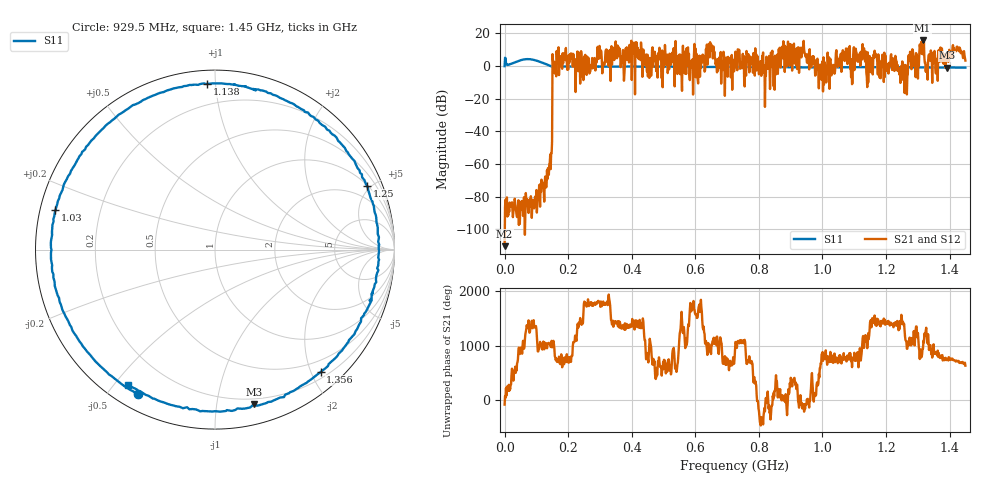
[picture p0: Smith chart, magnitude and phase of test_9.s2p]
! Created with skrf 1.11.0 (http://scikit-rf.org).
# Hz S RI R 50.0
!freq ReS11 ImS11 ReS21 ImS21 ReS12 ImS12 ReS22 ImS22
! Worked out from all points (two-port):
!   1001 points, 50 kHz to 1.45 GHz, reference 50 ohm
!   highest |S21| = 15.70 dB at 1.315 GHz (marker M1); lowest = -110.5 dB at 50 kHz (marker M2)
!   |S21| within 3 dB of the highest: 414.4242 MHz to 416.4011 MHz (1.977 MHz wide, 0.476 % of centre); 649.1832 MHz to 651.1205 MHz (1.937 MHz wide, 0.298 % of centre) (the widest 2 of 29)
!   lowest |S11| = -1.0 dB at 1.392 GHz (marker M3), VSWR 16.74, Z = 7.87 - j63.6 ohm
!   |S11| at or under -10 dB: nowhere
!   |S22| runs from - to - dB; largest |S21 - S12| = 0
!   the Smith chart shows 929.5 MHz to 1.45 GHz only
!   S11 on the Smith chart (normalised r, x): 929.5 MHz: 0.06, -0.60; 1.03 GHz: 0.04, +0.12; 1.138 GHz: 0.08, +0.95; 1.25 GHz: 1.04, +4.78; 1.356 GHz: 0.30, -2.15; 1.45 GHz: 0.07, -0.54
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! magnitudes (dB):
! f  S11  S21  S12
! 50 kHz  0.0  -110.5  -110.5
! 124.7 MHz  1.6  -83.1  -83.1
! 142.1 MHz  0.2  -59.4  -59.4
! 158.1 MHz  -0.4  -4.5  -4.5
! 242.2 MHz  -0.3  7.4  7.4
! 484.3 MHz  -0.4  7.5  7.5
! 588.7 MHz  -0.6  3.6  3.6
! 649.6 MHz  -0.6  13.4  13.4
! 674.3 MHz  -0.6  4.3  4.3
! 725 MHz  -0.6  5.8  5.8
! 822.2 MHz  -0.5  -5.9  -5.9
! 929.5 MHz  -0.8  9.8  9.8
! 967.2 MHz  -0.8  5.7  5.7
! 1.03 GHz  -0.8  -0.3  -0.3
! 1.079 GHz  -0.7  1.2  1.2
! 1.138 GHz  -0.7  -4.1  -4.1
! 1.209 GHz  -0.7  2.0  2.0
! 1.25 GHz  -0.7  -1.6  -1.6
! 1.315 GHz  -0.7  15.7  15.7
! 1.356 GHz  -0.9  -1.5  -1.5
! 1.392 GHz  -1.0  6.0  6.0
! 1.45 GHz  -1.0  3.4  3.4
